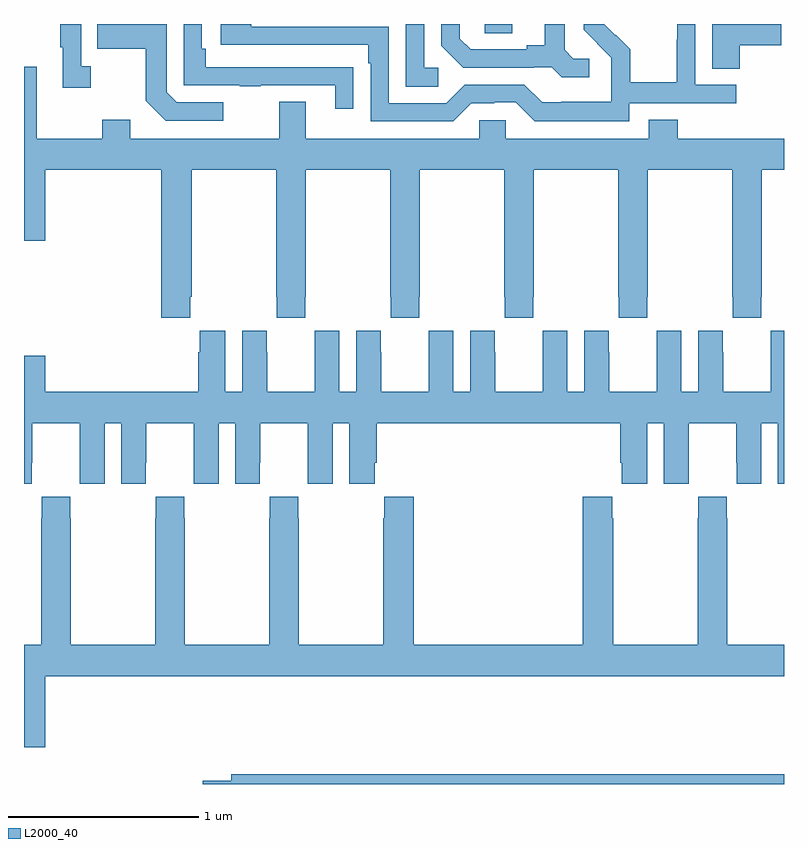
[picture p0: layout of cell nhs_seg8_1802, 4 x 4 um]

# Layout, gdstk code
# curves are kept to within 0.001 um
import gdstk
lib = gdstk.Library(unit=1e-6, precision=1e-09)
def R(c, l, rs):  # rectangles x0, y0, x1, y1
    for r in rs: c.add(gdstk.rectangle(r[:2], r[2:], *l))
def P(c, l, *ps):  # polygons
    for p in ps: c.add(gdstk.Polygon(p, *l))
L2000_40 = (2000, 40)

nhs_seg8_1802 = lib.new_cell('nhs_seg8_1802')
R(nhs_seg8_1802, L2000_40, [(227.424,1151.851,227.569,1151.9)])
P(nhs_seg8_1802, L2000_40, [(228.186,1151.484),(228.748,1151.484),(228.748,1151.58),(228.534,1151.58),(228.534,1151.9),(228.438,1151.9),(228.438,1151.816),(228.436,1151.816),(228.436,1151.593),(228.191,1151.593),(228.191,1151.767),(228.114,1151.844),(228.111,1151.841),(228.053,1151.9),(227.946,1151.9),(227.946,1151.87),(228.092,1151.722),(228.092,1151.625),(228.09,1151.625),(228.09,1151.491),(227.827,1151.491),(227.827,1151.487),(227.727,1151.487),(227.634,1151.58),(227.319,1151.58),(227.223,1151.484),(226.92,1151.484),(226.92,1151.886),(226.196,1151.886),(226.196,1151.9),(226.035,1151.9),(226.035,1151.79),(226.811,1151.79),(226.811,1151.693),(226.824,1151.693),(226.824,1151.388),(227.259,1151.388),(227.355,1151.484),(227.474,1151.484),(227.474,1151.487),(227.589,1151.487),(227.689,1151.387),(228.186,1151.387)],
  [(226.048,1151.487),(225.804,1151.487),(225.75,1151.541),(225.75,1151.9),(225.385,1151.9),(225.385,1151.77),(225.642,1151.77),(225.642,1151.497),(225.747,1151.391),(226.048,1151.391)],
  [(226.733,1151.672),(226.631,1151.672),(226.631,1151.673),(225.956,1151.673),(225.956,1151.77),(225.936,1151.77),(225.936,1151.9),(225.84,1151.9),(225.84,1151.577),(226.135,1151.577),(226.135,1151.572),(226.247,1151.572),(226.247,1151.577),(226.637,1151.577),(226.637,1151.454),(226.733,1151.454)],
  [(227.179,1151.67),(227.106,1151.67),(227.106,1151.9),(227.01,1151.9),(227.01,1151.569),(227.179,1151.569)],
  [(228.767,1151.789),(228.985,1151.789),(228.985,1151.9),(228.623,1151.9),(228.623,1151.665),(228.767,1151.665)],
  [(227.974,1151.718),(227.892,1151.718),(227.845,1151.765),(227.845,1151.9),(227.741,1151.9),(227.741,1151.789),(227.645,1151.789),(227.645,1151.766),(227.35,1151.766),(227.293,1151.823),(227.293,1151.9),(227.196,1151.9),(227.196,1151.786),(227.312,1151.67),(227.684,1151.67),(227.684,1151.673),(227.778,1151.673),(227.83,1151.621),(227.974,1151.621)],
  [(225.352,1151.678),(225.3,1151.678),(225.3,1151.9),(225.192,1151.9),(225.192,1151.777),(225.203,1151.777),(225.203,1151.565),(225.352,1151.565)],
  [(225.875,1150.465),(225.882,1150.465),(225.882,1151.132),(226.327,1151.132),(226.327,1150.465),(226.329,1150.465),(226.329,1150.353),(226.479,1150.353),(226.479,1150.465),(226.482,1150.465),(226.482,1151.132),(226.927,1151.132),(226.927,1150.465),(226.929,1150.465),(226.929,1150.353),(227.079,1150.353),(227.079,1150.465),(227.082,1150.465),(227.082,1151.132),(227.527,1151.132),(227.527,1150.465),(227.529,1150.465),(227.529,1150.353),(227.679,1150.353),(227.679,1150.465),(227.682,1150.465),(227.682,1151.132),(228.127,1151.132),(228.127,1150.465),(228.129,1150.465),(228.129,1150.353),(228.279,1150.353),(228.279,1150.465),(228.282,1150.465),(228.282,1151.132),(228.727,1151.132),(228.727,1150.465),(228.729,1150.465),(228.729,1150.353),(228.879,1150.353),(228.879,1150.465),(228.882,1150.465),(228.882,1151.132),(229,1151.132),(229,1151.296),(228.44,1151.296),(228.44,1151.395),(228.287,1151.395),(228.287,1151.296),(227.535,1151.296),(227.535,1151.394),(227.397,1151.394),(227.397,1151.296),(226.483,1151.296),(226.483,1151.491),(226.343,1151.491),(226.343,1151.296),(225.559,1151.296),(225.559,1151.395),(225.412,1151.395),(225.412,1151.296),(225.067,1151.296),(225.067,1151.674),(225,1151.674),(225,1150.758),(225.112,1150.758),(225.112,1151.132),(225.722,1151.132),(225.722,1150.353),(225.875,1150.353)],
  [(226.748,1150.285),(226.748,1149.964),(226.66,1149.964),(226.66,1150.285),(226.53,1150.285),(226.53,1150.172),(226.529,1150.172),(226.529,1149.964),(226.279,1149.964),(226.279,1150.172),(226.278,1150.172),(226.278,1150.285),(226.148,1150.285),(226.148,1149.964),(226.06,1149.964),(226.06,1150.285),(225.926,1150.285),(225.926,1150.172),(225.917,1150.172),(225.917,1149.964),(225.112,1149.964),(225.112,1150.153),(225,1150.153),(225,1149.48),(225.042,1149.48),(225.042,1149.592),(225.043,1149.592),(225.043,1149.8),(225.293,1149.8),(225.293,1149.592),(225.294,1149.592),(225.294,1149.48),(225.424,1149.48),(225.424,1149.8),(225.512,1149.8),(225.512,1149.48),(225.642,1149.48),(225.642,1149.592),(225.643,1149.592),(225.643,1149.8),(225.893,1149.8),(225.893,1149.592),(225.894,1149.592),(225.894,1149.48),(226.024,1149.48),(226.024,1149.8),(226.112,1149.8),(226.112,1149.48),(226.242,1149.48),(226.242,1149.592),(226.243,1149.592),(226.243,1149.8),(226.493,1149.8),(226.493,1149.592),(226.494,1149.592),(226.494,1149.48),(226.624,1149.48),(226.624,1149.8),(226.712,1149.8),(226.712,1149.48),(226.846,1149.48),(226.846,1149.592),(226.856,1149.592),(226.856,1149.8),(228.137,1149.8),(228.137,1149.592),(228.146,1149.592),(228.146,1149.48),(228.28,1149.48),(228.28,1149.8),(228.368,1149.8),(228.368,1149.48),(228.498,1149.48),(228.498,1149.592),(228.499,1149.592),(228.499,1149.8),(228.749,1149.8),(228.749,1149.592),(228.75,1149.592),(228.75,1149.48),(228.88,1149.48),(228.88,1149.8),(228.968,1149.8),(228.968,1149.48),(229,1149.48),(229,1150.285),(228.93,1150.285),(228.93,1150.172),(228.929,1150.172),(228.929,1149.964),(228.679,1149.964),(228.679,1150.172),(228.678,1150.172),(228.678,1150.285),(228.548,1150.285),(228.548,1149.964),(228.46,1149.964),(228.46,1150.285),(228.33,1150.285),(228.33,1150.172),(228.329,1150.172),(228.329,1149.964),(228.079,1149.964),(228.079,1150.172),(228.078,1150.172),(228.078,1150.285),(227.948,1150.285),(227.948,1149.964),(227.86,1149.964),(227.86,1150.285),(227.73,1150.285),(227.73,1150.172),(227.729,1150.172),(227.729,1149.964),(227.479,1149.964),(227.479,1150.172),(227.478,1150.172),(227.478,1150.285),(227.348,1150.285),(227.348,1149.964),(227.26,1149.964),(227.26,1150.285),(227.13,1150.285),(227.13,1150.172),(227.129,1150.172),(227.129,1149.964),(226.879,1149.964),(226.879,1150.172),(226.878,1150.172),(226.878,1150.285)],
  [(225.112,1148.468),(229,1148.468),(229,1148.632),(228.702,1148.632),(228.702,1149.299),(228.699,1149.299),(228.699,1149.412),(228.549,1149.412),(228.549,1149.299),(228.547,1149.299),(228.547,1148.632),(228.102,1148.632),(228.102,1149.299),(228.095,1149.299),(228.095,1149.412),(227.942,1149.412),(227.942,1148.632),(227.051,1148.632),(227.051,1149.412),(226.897,1149.412),(226.897,1149.299),(226.891,1149.299),(226.891,1148.632),(226.446,1148.632),(226.446,1149.299),(226.443,1149.299),(226.443,1149.412),(226.293,1149.412),(226.293,1149.299),(226.291,1149.299),(226.291,1148.632),(225.846,1148.632),(225.846,1149.299),(225.843,1149.299),(225.843,1149.412),(225.693,1149.412),(225.693,1149.299),(225.691,1149.299),(225.691,1148.632),(225.246,1148.632),(225.246,1149.299),(225.243,1149.299),(225.243,1149.412),(225.093,1149.412),(225.093,1149.299),(225.091,1149.299),(225.091,1148.632),(225,1148.632),(225,1148.094),(225.112,1148.094)],
  [(229,1147.952),(226.091,1147.952),(226.091,1147.916),(225.942,1147.916),(225.942,1147.9),(229,1147.9)])

lib.write_gds('nhs_seg8_1802.gds')
